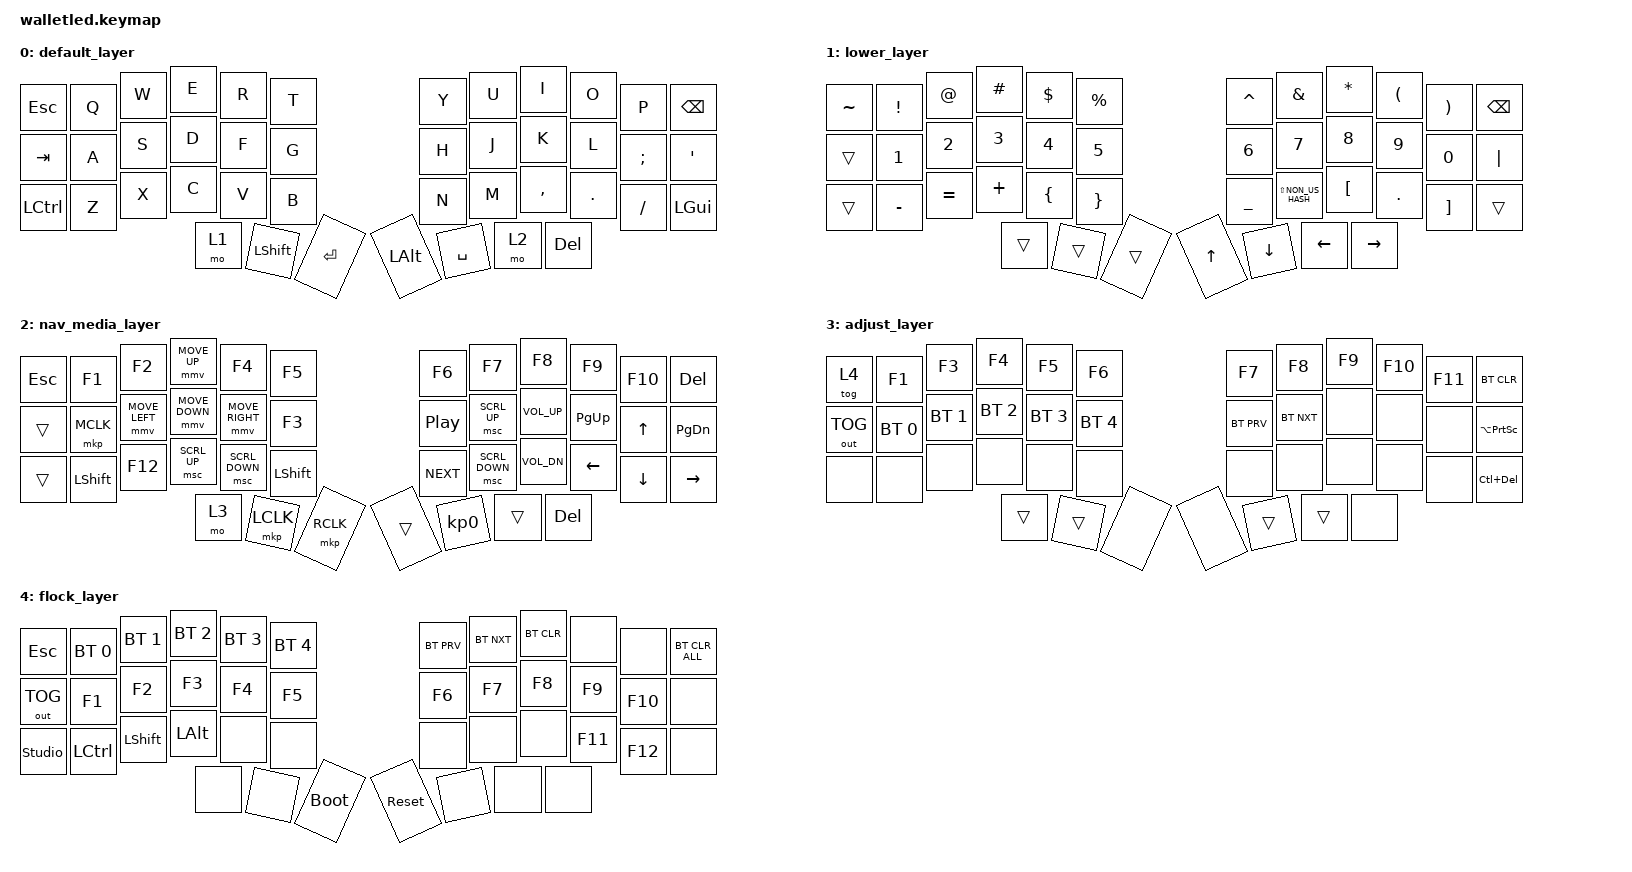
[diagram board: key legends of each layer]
/*
 * Copyright (c) 2021 The ZMK Contributors
 *
 * SPDX-License-Identifier: MIT
 */

#define ZMK_POINTING_DEFAULT_MOVE_VAL 1500  // default: 600
#define ZMK_POINTING_DEFAULT_SCRL_VAL  20    // default: 10

#include <dt-bindings/zmk/pointing.h>
#include <behaviors.dtsi>
#include <dt-bindings/zmk/keys.h>
#include <dt-bindings/zmk/bt.h>
#include <dt-bindings/zmk/outputs.h>



/ {
    keymap {
        compatible = "zmk,keymap";

        default_layer {
            // ------------------------------------------------------------------------------------------
            // |  ESC  |  Q   |  W   |  E   |  R   |  T   |   Y   |  U    |  I   |  O   |   P   | BSPC  |
            // |  TAB  |  A   |  S   |  D   |  F   |  G   |   H   |  J    |  K   |  L   |   ;   |  '    |
            // | CTRL  |  Z   |  X   |  C   |  V   |  B   |   N   |  M    |  ,   |  .   |   /   | LGUI  |
            // |       |      |      | LOWR | LSHFT| ENTER|  ALT  | SPACE | RAIS |      |       |       |


            bindings = <
                &kp ESC     &kp Q    &kp W    &kp E    &kp R      &kp T       &kp Y       &kp U      &kp I       &kp O       &kp P       &kp BSPC
                &kp TAB     &kp A    &kp S    &kp D    &kp F      &kp G       &kp H       &kp J      &kp K       &kp L       &kp SEMI    &kp SQT
                &kp LCTRL   &kp Z    &kp X    &kp C    &kp V      &kp B       &kp N       &kp M      &kp COMMA   &kp DOT     &kp FSLH    &kp LGUI
                                              &mo 1    &kp LSHFT  &kp ENTER   &kp LALT    &kp SPACE  &mo 2       &kp DEL
            >;
        };

        lower_layer {
            // -------------------------------------------------------------------------------------------
            // |   ~   |  1   |  2   |  3   |  4   |  5   |   6   |   7   |  8   |  9   |   0   |  DEL  |
            // |       |  !   |  @   |  #   |  $   |  %   |   ^   |   &   |  *   |  (   |   )   |   |   |
            // |       |  6   |  7   |  8   |  9   |  10  |   _   | LS(#) |  [   |  .   |   ]   |       |
            // |       |      |      |      |      |      |       |       |      |      |       |       |
            bindings = <
                &kp TILDE  &kp EXCL     &kp AT     &kp HASH &kp DLLR  &kp PRCNT    &kp CARET       &kp AMPS            &kp ASTRK   &kp LPAR     &kp RPAR    &kp BSPC
                &trans     &kp N1       &kp N2     &kp N3   &kp N4    &kp N5       &kp N6          &kp N7              &kp N8      &kp N9       &kp N0      &kp PIPE
                &trans     &kp MINUS    &kp EQUAL  &kp PLUS &kp LBRC  &kp RBRC     &kp UNDER       &kp LS(NON_US_HASH) &kp LBKT    &kp DOT      &kp RBKT    &trans
                                        &trans     &trans   &trans    &kp UP       &kp DOWN        &kp LEFT            &kp RIGHT             
            >;
        };

        nav_media_layer {
            // ------------------------------------------------------------------------------------------
            // |  ESC  |  F2  |  F3  |  F4  |  F5  |  F6  |  F7   |  F8   |  F9  | F10  |  F11  |  F12  |
            // |   ~   |  1   |  2   |  3   |  4   |  5   |  6    |   7   |  8   |  9   |  UP   |  DEL  |
            // |  DEL  |  F1  |  F2  |  F3  |  F4  |  F5  |  F6   |   -   |  =   | LEFT |  DOWN | RIGHT |
            // |       |      |      |  F9  |  F10 |  F11 |  F12  |   #   |  |   |      |       |       |
            // |       |      |      |      |      |      |       |       |      |      |       |       |
            bindings = <
                &kp ESC   &kp F1    &kp F2          &mmv MOVE_UP     &kp F4           &kp F5        &kp F6      &kp F7          &kp F8        &kp F9     &kp F10   &kp DEL
                &trans    &mkp MCLK &mmv MOVE_LEFT  &mmv MOVE_DOWN   &mmv MOVE_RIGHT  &kp F3        &kp C_PP    &msc SCRL_UP    &kp C_VOL_UP  &kp PG_UP  &kp UP    &kp PG_DN   
                &trans    &kp LSHFT &kp F12         &msc SCRL_UP     &msc SCRL_DOWN   &kp LSHFT     &kp C_NEXT  &msc SCRL_DOWN  &kp C_VOL_DN  &kp LEFT   &kp DOWN  &kp RIGHT
                                                    &mo 3            &mkp LCLK        &mkp RCLK     &trans      &kp KP_N0       &trans        &kp DEL
            >;
        };

        adjust_layer {
            // ------------------------------------------------------------------------------------------
            // |tog(4)|  F2  |  F3  |  F4  |  F5  |  F6  |  F7  |  F8  |  F9  |  F10 |  F11 |    F12    |
            // |      |  NA  |  NA  |  NA  |  NA  |  NA  |  NA  |  NA  |  NA  |  NA  |  NA  |LALT(PRTSN)|
            // |      |  NA  |  NA  |  NA  |  NA  |  NA  |  NA  |  NA  |  NA  |  NA  |  NA  |   PRTSN   |
            // |      |  NA  |  NA  |  NA  |  NA  |  NA  |  NA  |  NA  |  NA  |  NA  |  NA  |LCTRL(DEL) |
            // |      |      |      |      |      |BOOTLD|BOOTLD|      |      |      |      |           |
            bindings = <
                &tog 4       &kp F1       &kp F3       &kp F4       &kp F5       &kp F6       &kp F7     &kp F8     &kp F9 &kp F10 &kp F11 &bt BT_CLR
                &out OUT_TOG &bt BT_SEL 0 &bt BT_SEL 1 &bt BT_SEL 2 &bt BT_SEL 3 &bt BT_SEL 4 &bt BT_PRV &bt BT_NXT &none  &none   &none   &kp LA(PSCRN)
                &none       &none        &none        &none        &none        &none        &none      &none      &none  &none   &none   &kp LC(DEL)
                                                      &trans &trans &none   &none &trans    &trans      &none
            >;
        };

        flock_layer {
            // ----------------------------------------------------------------------------------------------
            // |tog(4) |  F2    |   F3   |   F4   |   F5   |   F6   |  F7  |  F8  |  F9  | F10 | F11 |      |
            // |out tog|BT_SEL 0|BT_SEL 1|BT_SEL 2|BT_SEL 3|BT_SEL 4|BT_PRV|BT_NXT|BT_CLR|     |     |      |
            // |       |        |        |        |        |        |      |      |      |     |     |      |
            // |       |        |        |        |        |        |      |      |      |     |     |      |
            // |       |        |        |        |BOOTLD  | BOOTLD |      |      |      |     |     |      |
            bindings = <
                &kp ESC             &bt BT_SEL 0 &bt BT_SEL 1 &bt BT_SEL 2 &bt BT_SEL 3 &bt BT_SEL 4 &bt BT_PRV &bt BT_NXT &bt BT_CLR &none   &none   &bt BT_CLR_ALL
                &out OUT_TOG        &kp F1       &kp F2       &kp F3       &kp F4       &kp F5       &kp F6     &kp F7     &kp F8     &kp F9   &kp F10   &none
                &studio_unlock      &kp LCTRL    &kp LSHFT    &kp LALT     &none        &none        &none      &none      &none      &kp F11  &kp F12   &none
                                                 &none        &none        &bootloader  &sys_reset   &none      &none      &none
            >;
        };
    };
};
